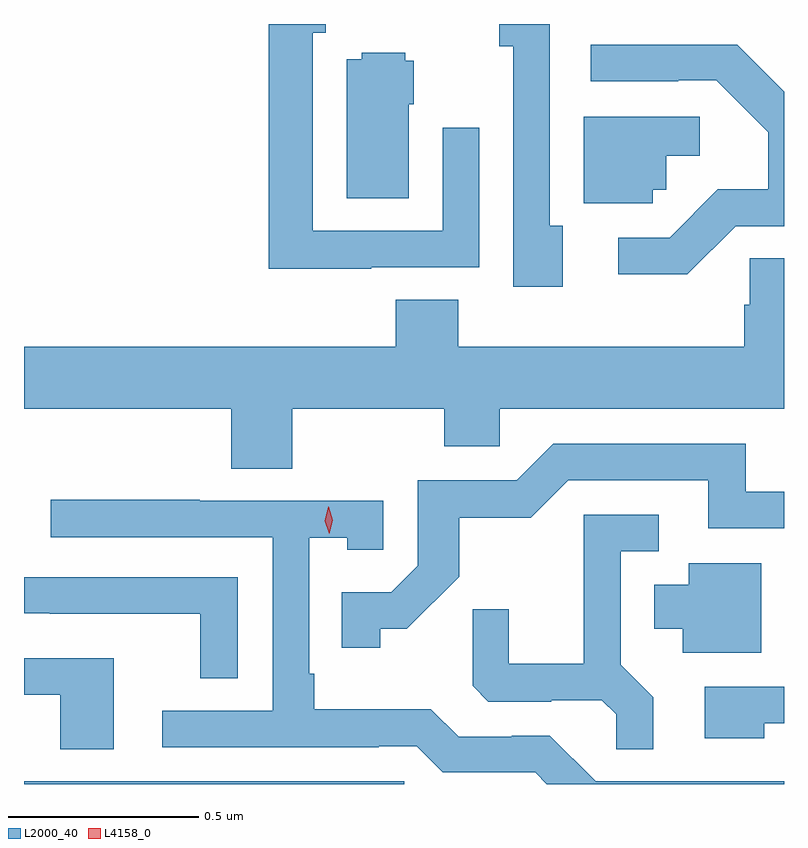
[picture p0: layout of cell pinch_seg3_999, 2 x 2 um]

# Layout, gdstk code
import gdstk
lib = gdstk.Library(unit=1e-6, precision=1e-09)
def R(c, l, rs):  # rectangles x0, y0, x1, y1
    for r in rs: c.add(gdstk.rectangle(r[:2], r[2:], *l))
def P(c, l, *ps):  # polygons
    for p in ps: c.add(gdstk.Polygon(p, *l))
L2000_40 = (2000, 40)
L4158_0 = (4158, 0)

pinch_seg3_999 = lib.new_cell('pinch_seg3_999')
R(pinch_seg3_999, L2000_40, [(449.969,714.581,450.97,714.588)])
P(pinch_seg3_999, L2000_40, [(450.883,715.941),(451.167,715.941),(451.167,716.308),(451.071,716.308),(451.071,716.037),(450.729,716.037),(450.729,716.558),(450.763,716.558),(450.763,716.581),(450.613,716.581),(450.613,715.937),(450.883,715.937)],
  [(451.387,716.05),(451.353,716.05),(451.353,716.581),(451.22,716.581),(451.22,716.522),(451.257,716.522),(451.257,715.89),(451.387,715.89)],
  [(451.842,716.049),(451.969,716.049),(451.969,716.403),(451.846,716.526),(451.461,716.526),(451.461,716.43),(451.691,716.43),(451.691,716.433),(451.791,716.433),(451.928,716.296),(451.928,716.146),(451.795,716.146),(451.668,716.019),(451.533,716.019),(451.533,715.922),(451.714,715.922)],
  [(450.982,716.37),(450.994,716.37),(450.994,716.484),(450.972,716.484),(450.972,716.506),(450.858,716.506),(450.858,716.488),(450.818,716.488),(450.818,716.122),(450.982,716.122)],
  [(451.623,716.145),(451.659,716.145),(451.659,716.234),(451.747,716.234),(451.747,716.337),(451.442,716.337),(451.442,716.109),(451.623,716.109)],
  [(450.675,715.568),(451.075,715.568),(451.075,715.47),(451.221,715.47),(451.221,715.568),(451.969,715.568),(451.969,715.964),(451.879,715.964),(451.879,715.842),(451.865,715.842),(451.865,715.732),(451.112,715.732),(451.112,715.856),(450.947,715.856),(450.947,715.732),(449.969,715.732),(449.969,715.568),(450.515,715.568),(450.515,715.411),(450.675,715.411)],
  [(450.906,714.989),(450.976,714.989),(451.114,715.126),(451.114,715.282),(451.303,715.282),(451.401,715.38),(451.769,715.38),(451.769,715.254),(451.969,715.254),(451.969,715.35),(451.868,715.35),(451.868,715.476),(451.362,715.476),(451.266,715.38),(451.005,715.38),(451.005,715.155),(450.936,715.086),(450.805,715.086),(450.805,714.939),(450.906,714.939)],
  [(451.969,714.588),(451.473,714.588),(451.353,714.708),(451.252,714.708),(451.252,714.705),(451.113,714.705),(451.04,714.778),(450.733,714.778),(450.733,714.871),(450.72,714.871),(450.72,715.229),(450.819,715.229),(450.819,715.197),(450.915,715.197),(450.915,715.326),(450.431,715.326),(450.431,715.329),(450.039,715.329),(450.039,715.23),(450.624,715.23),(450.624,714.774),(450.333,714.774),(450.333,714.678),(450.902,714.678),(450.902,714.681),(451.002,714.681),(451.071,714.612),(451.314,714.612),(451.345,714.581),(451.969,714.581)],
  [(451.625,714.809),(451.539,714.895),(451.539,715.194),(451.639,715.194),(451.639,715.29),(451.442,715.29),(451.442,714.898),(451.244,714.898),(451.244,715.041),(451.15,715.041),(451.15,714.839),(451.191,714.798),(451.356,714.798),(451.356,714.801),(451.49,714.801),(451.527,714.764),(451.527,714.673),(451.625,714.673)],
  [(451.909,715.162),(451.718,715.162),(451.718,715.105),(451.628,715.105),(451.628,714.989),(451.703,714.989),(451.703,714.926),(451.909,714.926)],
  [(450.531,715.125),(449.969,715.125),(449.969,715.03),(450.037,715.03),(450.037,715.029),(450.433,715.029),(450.433,714.859),(450.531,714.859)],
  [(450.205,714.912),(449.969,714.912),(449.969,714.816),(450.065,714.816),(450.065,714.673),(450.205,714.673)],
  [(451.917,714.741),(451.969,714.741),(451.969,714.837),(451.761,714.837),(451.761,714.701),(451.917,714.701)])
P(pinch_seg3_999, L4158_0, [(450.772,715.239),(450.772,715.239),(450.761,715.274),(450.77,715.31),(450.77,715.311),(450.771,715.31),(450.781,715.275),(450.772,715.239)])

lib.write_gds('pinch_seg3_999.gds')
